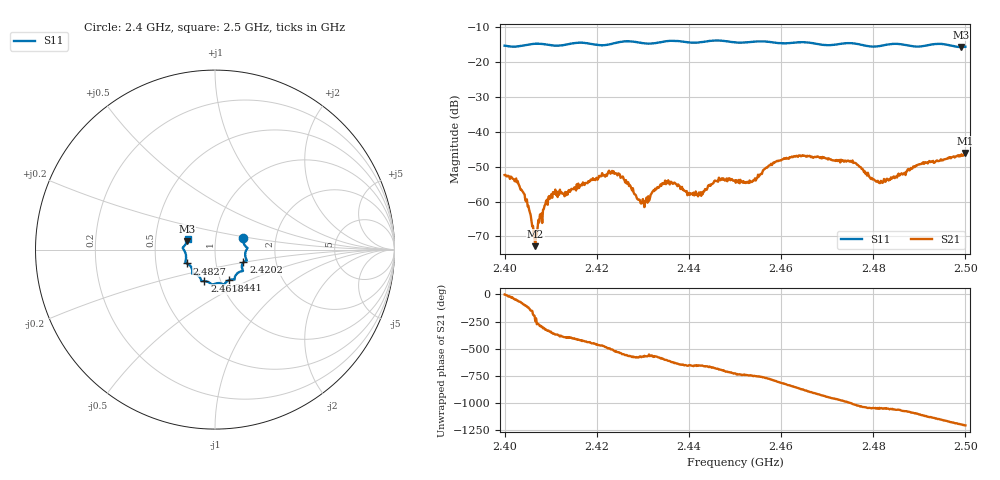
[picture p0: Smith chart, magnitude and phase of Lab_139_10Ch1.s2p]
# Hz S RI R 50
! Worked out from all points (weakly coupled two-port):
!   601 points, 2.4 GHz to 2.5 GHz, reference 50 ohm
!   highest |S21| = -46.14 dB at 2.5 GHz (marker M1); lowest = -72.8 dB at 2.4067 GHz (marker M2)
!   lowest |S11| = -15.8 dB at 2.499 GHz (marker M3), VSWR 1.39, Z = 36.4 + j3.47 ohm
!   |S11| at or under -10 dB: start of sweep to end of sweep
!   S12 and S22 are empty: the file has one direction only
!   S11 on the Smith chart (normalised r, x): 2.4 GHz: 1.36, +0.18; 2.4202 GHz: 1.36, -0.20; 2.441 GHz: 1.10, -0.39; 2.4618 GHz: 0.84, -0.30; 2.4827 GHz: 0.72, -0.12; 2.5 GHz: 0.73, +0.09
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2.4e9  0.1581 0.0626  0.00239 -2.19e-05  0 0  0 0
2.403833e9  0.1682 0.0209  0.000216 -0.0014  0 0  0 0
2.406667e9  0.1806 0.0099  -9.19e-05 0.00021  0 0  0 0
2.41e9  0.1723 -0.00618  0.00114 0.000372  0 0  0 0
2.416667e9  0.1773 -0.0605  0.00085 -0.00153  0 0  0 0
2.420167e9  0.1584 -0.0712  -0.000528 -0.00198  0 0  0 0
2.4245e9  0.1529 -0.1106  -0.00234 -0.000309  0 0  0 0
2.43e9  0.1362 -0.1245  -0.000918 0.000579  0 0  0 0
2.433333e9  0.1115 -0.1509  -0.0012 0.00101  0 0  0 0
2.4365e9  0.1088 -0.1672  -0.000147 0.00178  0 0  0 0
2.441e9  0.0786 -0.1697  0.000685 0.00116  0 0  0 0
2.447e9  0.0475 -0.1946  0.00187 0.000879  0 0  0 0
2.45e9  0.0283 -0.1871  0.002 -0.000252  0 0  0 0
2.453333e9  -0.00317 -0.1914  0.00171 -0.000778  0 0  0 0
2.461833e9  -0.0593 -0.1753  -0.00199 -0.00383  0 0  0 0
2.466667e9  -0.0784 -0.1682  -0.00441 0.000212  0 0  0 0
2.475e9  -0.1273 -0.1338  0.000654 0.00376  0 0  0 0
2.480333e9  -0.1371 -0.0915  0.00171 0.00105  0 0  0 0
2.482667e9  -0.1559 -0.0774  0.0017 0.000868  0 0  0 0
2.483333e9  -0.1603 -0.0754  0.0018 0.00087  0 0  0 0
2.499e9  -0.1553 0.0464  -0.00208 -0.00408  0 0  0 0
2.5e9  -0.1523 0.0608  -0.00301 -0.00391  0 0  0 0
